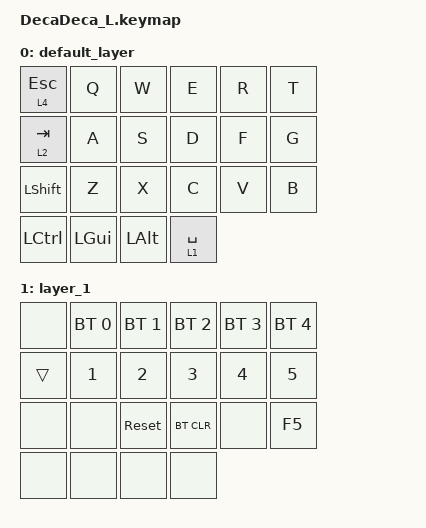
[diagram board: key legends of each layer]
#include <behaviors.dtsi>
#include <dt-bindings/zmk/bt.h>
#include <dt-bindings/zmk/keys.h>

/ {
    keymap {
        compatible = "zmk,keymap";

        default_layer {
            bindings = <
&lt 4 ESC  &kp Q     &kp W     &kp E        &kp R  &kp T
&lt 2 TAB  &kp A     &kp S     &kp D        &kp F  &kp G
&kp LSHFT  &kp Z     &kp X     &kp C        &kp V  &kp B
&kp LCTRL  &kp LGUI  &kp LALT  &lt 1 SPACE
            >;
        };

        layer_1 {
            bindings = <
&none   &bt BT_SEL 0  &bt BT_SEL 1  &bt BT_SEL 2  &bt BT_SEL 3  &bt BT_SEL 4
&trans  &kp NUMBER_1  &kp NUMBER_2  &kp NUMBER_3  &kp NUMBER_4  &kp NUMBER_5
&none   &none         &sys_reset    &bt BT_CLR    &none         &kp F5
&none   &none         &none         &none
            >;
        };
    };
};
